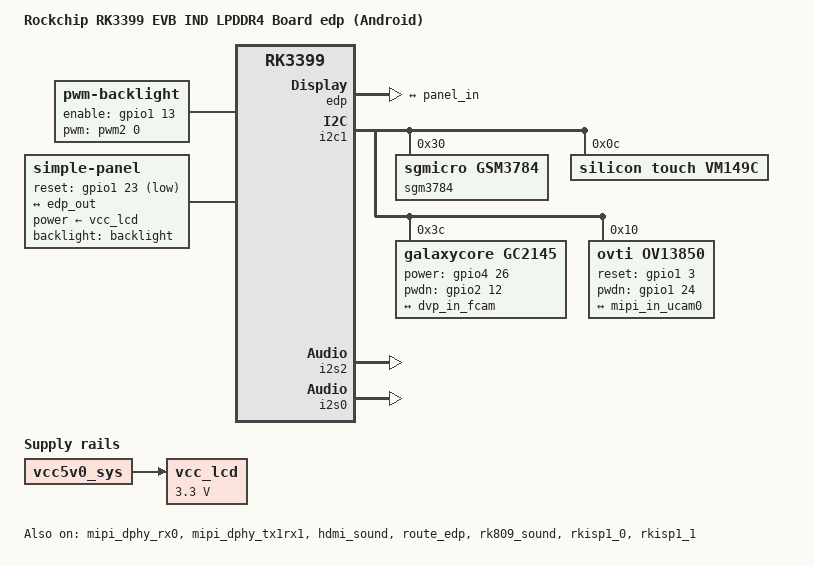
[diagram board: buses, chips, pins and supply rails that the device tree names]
// SPDX-License-Identifier: (GPL-2.0+ OR MIT)
/*
 * Copyright (c) 2019 Fuzhou Rockchip Electronics Co., Ltd
 */

/dts-v1/;

#include "rk3399-evb-ind.dtsi"

/ {
	model = "Rockchip RK3399 EVB IND LPDDR4 Board edp (Android)";
	compatible = "rockchip,android", "rockchip,rk3399-evb-ind-lpddr4-android", "rockchip,rk3399";
	chosen: chosen {
		bootargs = "earlycon=uart8250,mmio32,0xff1a0000 swiotlb=1 console=ttyFIQ0 androidboot.baseband=N/A androidboot.veritymode=enforcing androidboot.hardware=rk30board androidboot.console=ttyFIQ0 init=/init initrd=0x62000001,0x00800000 coherent_pool=1m";
	};

	iram: sram@ff8d0000 {
		compatible = "mmio-sram";
		reg = <0x0 0xff8d0000 0x0 0x20000>;
	};

	backlight: backlight {
		status = "okay";
		compatible = "pwm-backlight";
		pwms = <&pwm2 0 25000 0>;
		brightness-levels = <
			  0   1   2   3   4   5   6   7
			  8   9  10  11  12  13  14  15
			 16  17  18  19  20  21  22  23
			 24  25  26  27  28  29  30  31
			 32  33  34  35  36  37  38  39
			 40  41  42  43  44  45  46  47
			 48  49  50  51  52  53  54  55
			 56  57  58  59  60  61  62  63
			 64  65  66  67  68  69  70  71
			 72  73  74  75  76  77  78  79
			 80  81  82  83  84  85  86  87
			 88  89  90  91  92  93  94  95
			 96  97  98  99 100 101 102 103
			104 105 106 107 108 109 110 111
			112 113 114 115 116 117 118 119
			120 121 122 123 124 125 126 127
			128 129 130 131 132 133 134 135
			136 137 138 139 140 141 142 143
			144 145 146 147 148 149 150 151
			152 153 154 155 156 157 158 159
			160 161 162 163 164 165 166 167
			168 169 170 171 172 173 174 175
			176 177 178 179 180 181 182 183
			184 185 186 187 188 189 190 191
			192 193 194 195 196 197 198 199
			200 201 202 203 204 205 206 207
			208 209 210 211 212 213 214 215
			216 217 218 219 220 221 222 223
			224 225 226 227 228 229 230 231
			232 233 234 235 236 237 238 239
			240 241 242 243 244 245 246 247
			248 249 250 251 252 253 254 255>;
		default-brightness-level = <200>;
		enable-gpios = <&gpio1 13 GPIO_ACTIVE_HIGH>;
	};

	vcc_lcd: vcc-lcd {
		compatible = "regulator-fixed";
		regulator-name = "vcc_lcd";
		startup-delay-us = <20000>;
		enable-active-high;
		regulator-min-microvolt = <3300000>;
		regulator-max-microvolt = <3300000>;
		regulator-boot-on;
		vin-supply = <&vcc5v0_sys>;
	};

	panel: panel {
		compatible = "simple-panel";
		backlight = <&backlight>;
		power-supply = <&vcc_lcd>;
		reset-gpios = <&gpio1 23 GPIO_ACTIVE_LOW>;
		prepare-delay-ms = <20>;
		reset-delay-ms = <20>;
		enable-delay-ms = <20>;

		display-timings {
			native-mode = <&timing0>;

			timing0: timing0 {
				clock-frequency = <200000000>;
				hactive = <1536>;
				vactive = <2048>;
				hfront-porch = <12>;
				hsync-len = <16>;
				hback-porch = <48>;
				vfront-porch = <8>;
				vsync-len = <4>;
				vback-porch = <8>;
				hsync-active = <0>;
				vsync-active = <0>;
				de-active = <0>;
				pixelclk-active = <0>;
			};
		};

		ports {
			panel_in: endpoint {
				remote-endpoint = <&edp_out>;
			};
		};
	};

	test-power {
		status = "okay";
	};
};

&dmac_bus {
	iram = <&iram>;
	rockchip,force-iram;
};

&dp_sound {
	status = "disabled";
};

&edp {
	status = "okay";
	force-hpd;

	ports {
		port@1 {
			reg = <1>;

			edp_out: endpoint {
				remote-endpoint = <&panel_in>;
			};
		};
	};
};

&edp_in_vopl {
	status = "disabled";
};

&firmware_android {
	compatible = "android,firmware";
	boot_devices = "fe330000.sdhci";
	vbmeta {
		compatible = "android,vbmeta";
		parts = "vbmeta,boot,system,vendor,dtbo";
	};
	fstab {
		compatible = "android,fstab";
		vendor {
			compatible = "android,vendor";
			dev = "/dev/block/by-name/vendor";
			type = "ext4";
			mnt_flags = "ro,barrier=1,inode_readahead_blks=8";
			fsmgr_flags = "wait,avb";
		};
	};
};

&i2c1 {
	status = "okay";

	sgm3784: sgm3784@30 {
		#address-cells = <1>;
		#size-cells = <0>;
		compatible = "sgmicro,gsm3784";
		reg = <0x30>;
		rockchip,camera-module-index = <0>;
		rockchip,camera-module-facing = "back";
		//enable-gpio = <&gpio2 RK_PB4 GPIO_ACTIVE_HIGH>;
		//strobe-gpio = <&gpio1 RK_PA3 GPIO_ACTIVE_HIGH>;
		status = "okay";
		sgm3784_led0: led@0 {
			reg = <0x0>;
			led-max-microamp = <299200>;
			flash-max-microamp = <1122000>;
			flash-max-timeout-us = <1600000>;
		};

		sgm3784_led1: led@1 {
			reg = <0x1>;
			led-max-microamp = <299200>;
			flash-max-microamp = <1122000>;
			flash-max-timeout-us = <1600000>;
		};
	};

	vm149c: vm149c@0c {
		compatible = "silicon touch,vm149c";
		status = "okay";
		reg = <0x0c>;
		rockchip,camera-module-index = <0>;
		rockchip,camera-module-facing = "back";
	};

	gc2145: gc2145@3c{
		status = "okay";
		compatible = "galaxycore,gc2145";
		reg = <0x3c>;
		pinctrl-names = "rockchip,camera_default";
		pinctrl-0 = <&cif_clkout>;

		clocks = <&cru SCLK_CIF_OUT>;
		clock-names = "xvclk";

		/* avdd-supply = <>; */
		/* dvdd-supply = <>; */
		/* dovdd-supply = <>; */
		power-gpios = <&gpio4 26 GPIO_ACTIVE_HIGH>;
		pwdn-gpios = <&gpio2 12 GPIO_ACTIVE_HIGH>;
		rockchip,camera-module-index = <1>;
		rockchip,camera-module-facing = "front";
		rockchip,camera-module-name = "CameraKing";
		rockchip,camera-module-lens-name = "Largan";
		port {
			gc2145_out: endpoint {
				remote-endpoint = <&dvp_in_fcam>;
			};
		};
	};

	ov13850: ov13850@10 {
		compatible = "ovti,ov13850";
		status = "okay";
		reg = <0x10>;
		clocks = <&cru SCLK_CIF_OUT>;
		clock-names = "xvclk";
		/* avdd-supply = <>; */
		/* dvdd-supply = <>; */
		/* dovdd-supply = <>; */
		/* reset-gpios = <>; */
		reset-gpios = <&gpio1 3 GPIO_ACTIVE_HIGH>;
		pwdn-gpios = <&gpio1 24 GPIO_ACTIVE_HIGH>;
		pinctrl-names = "rockchip,camera_default";
		pinctrl-0 = <&cif_clkout>;
		rockchip,camera-module-index = <0>;
		rockchip,camera-module-facing = "back";
		rockchip,camera-module-name = "CMK-CT0116";
		rockchip,camera-module-lens-name = "Largan-50013A1";
		lens-focus = <&vm149c>;
		flash-leds = <&sgm3784_led0 &sgm3784_led1>;
		port {
			ucam_out0: endpoint {
				remote-endpoint = <&mipi_in_ucam0>;
				//remote-endpoint = <&mipi_in_ucam1>;
				data-lanes = <1 2>;
			};
		};
	};

	ov4689: ov4689@36 {
		compatible = "ovti,ov4689";
		status = "disabled";
		reg = <0x36>;
		clocks = <&cru SCLK_CIF_OUT>;
		clock-names = "xvclk";
		/* avdd-supply = <>; */
		/* dvdd-supply = <>; */
		/* dovdd-supply = <>; */
		/* reset-gpios = <>; */
		reset-gpios = <&gpio2 10 GPIO_ACTIVE_HIGH>;
		pwdn-gpios = <&gpio4 29 GPIO_ACTIVE_HIGH>;
		pinctrl-names = "rockchip,camera_default";
		pinctrl-0 = <&cif_clkout>;
		rockchip,camera-module-index = <1>;
		rockchip,camera-module-facing = "front";
		rockchip,camera-module-name = "JSD3425-C1";
		rockchip,camera-module-lens-name = "JSD3425-C1";
		port {
			ucam_out1: endpoint {
				//remote-endpoint = <&mipi_in_ucam0>;
				remote-endpoint = <&mipi_in_ucam1>;
				data-lanes = <1 2>;
			};
		};
	};
};

&i2s2 {
	#sound-dai-cells = <0>;
	status = "okay";
};

&isp0_mmu {
	status = "okay";
};

&isp1_mmu {
	status = "okay";
};

&mipi_dphy_rx0 {
	status = "okay";

	ports {
		#address-cells = <1>;
		#size-cells = <0>;

		port@0 {
			reg = <0>;
			#address-cells = <1>;
			#size-cells = <0>;

			mipi_in_ucam0: endpoint@1 {
				reg = <1>;
				remote-endpoint = <&ucam_out0>;
				data-lanes = <1 2>;
			};
		};

		port@1 {
			reg = <1>;
			#address-cells = <1>;
			#size-cells = <0>;

			dphy_rx0_out: endpoint@0 {
				reg = <0>;
				remote-endpoint = <&isp0_mipi_in>;
			};
		};
	};
};

&mipi_dphy_tx1rx1 {
	status = "okay";

	ports {
		#address-cells = <1>;
		#size-cells = <0>;

		port@0 {
			reg = <0>;
			#address-cells = <1>;
			#size-cells = <0>;

			mipi_in_ucam1: endpoint@1 {
				reg = <1>;
				remote-endpoint = <&ucam_out1>;
				data-lanes = <1 2>;
			};
		};

		port@1 {
			reg = <1>;
			#address-cells = <1>;
			#size-cells = <0>;

			dphy_tx1rx1_out: endpoint@0 {
				reg = <0>;
				remote-endpoint = <&isp1_mipi_in>;
			};
		};
	};
};

&hdmi_sound {
	status = "okay";
};

&route_edp {
	status = "okay";
};

&i2s1 {
	#sound-dai-cells = <0>;
	status = "disabled";
};

&rk809_sound {
	status = "okay";
};

&rkisp1_0 {
	status = "okay";

	port {
		#address-cells = <1>;
		#size-cells = <0>;

		isp0_mipi_in: endpoint@0 {
			reg = <0>;
			remote-endpoint = <&dphy_rx0_out>;
		};
	};
};

&rkisp1_1 {
	status = "okay";
	pinctrl-names = "default";
	pinctrl-0 = <&cif_clkout &isp_dvp_d0d7>;
	port {
		#address-cells = <1>;
		#size-cells = <0>;

		isp1_mipi_in: endpoint@0 {
			reg = <0>;
			remote-endpoint = <&dphy_tx1rx1_out>;
		};
		dvp_in_fcam: endpoint@1 {
			reg = <1>;
			remote-endpoint = <&gc2145_out>;
		};
	};
};

/*
 * if enable dp_sound, should disable spdif_sound and spdif_out
 */
&spdif_out {
	status = "disabled";
};

&spdif_sound {
	status = "disabled";
};

&i2s0 {
	#sound-dai-cells = <0>;
	status = "okay";
};

&tc358749x_sound {
	status = "disabled";
};

&pinctrl {
	lcd-panel {
		lcd_panel_reset: lcd-panel-reset {
			rockchip,pins = <1 23 RK_FUNC_GPIO &pcfg_pull_up>;
		};
	};
};

